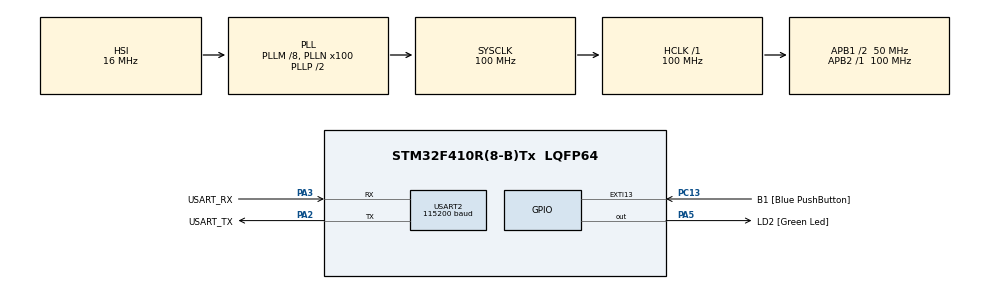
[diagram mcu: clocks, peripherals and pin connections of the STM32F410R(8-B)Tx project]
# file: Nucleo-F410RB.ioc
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FREERTOS.BinarySemaphores01=watchdogMutex,Dynamic,NULL
FREERTOS.Tasks01=defaultTask,0,128,StartDefaultTask,Default,NULL,Dynamic,NULL,NULL;Blink,-2,128,StartBlinkLED2,Default,NULL,Dynamic,NULL,NULL;watchdogFeeder,2,128,StartWatchdogFeeder,Default,NULL,Dynamic,NULL,NULL;watchdog,2,128,StartWatchdog,Default,NULL,Dynamic,NULL,NULL
FREERTOS.configUSE_NEWLIB_REENTRANT=1
Mcu.Family=STM32F4
Mcu.Name=STM32F410R(8-B)Tx
Mcu.Package=LQFP64
NVIC.PriorityGroup=NVIC_PRIORITYGROUP_4
NVIC.TIM6_DAC_IRQn=true\:15\:0\:false\:false\:true\:false\:false\:true\:true
NVIC.TimeBase=TIM6_DAC_IRQn
NVIC.TimeBaseIP=TIM6
PA13.GPIO_Label=TMS
PA13.Mode=Serial_Wire
PA13.Signal=SYS_JTMS-SWDIO
PA14.GPIO_Label=TCK
PA14.Mode=Serial_Wire
PA14.Signal=SYS_JTCK-SWCLK
PA2.GPIO_Label=USART_TX
PA2.Mode=Asynchronous
PA2.Signal=USART2_TX
PA3.GPIO_Label=USART_RX
PA3.Mode=Asynchronous
PA3.Signal=USART2_RX
PA5.GPIO_Label=LD2 [Green Led]
PA5.Signal=GPIO_Output
PB3.GPIO_Label=SWO
PB3.Signal=SYS_JTDO-SWO
PC13-ANTI_TAMP.GPIO_Label=B1 [Blue PushButton]
PC13-ANTI_TAMP.GPIO_ModeDefaultEXTI=GPIO_MODE_IT_FALLING
PC13-ANTI_TAMP.Signal=GPXTI13
PC14-OSC32_IN.Mode=LSE-External-Oscillator
PC14-OSC32_IN.Signal=RCC_OSC32_IN
PC15-OSC32_OUT.Mode=LSE-External-Oscillator
PC15-OSC32_OUT.Signal=RCC_OSC32_OUT
PH0\ -\ OSC_IN.Mode=HSE-External-Clock-Source
PH0\ -\ OSC_IN.Signal=RCC_OSC_IN
PH1\ -\ OSC_OUT.Mode=HSE-External-Clock-Source
PH1\ -\ OSC_OUT.Signal=RCC_OSC_OUT
ProjectManager.HeapSize=0x200
ProjectManager.StackSize=0x400
ProjectManager.TargetToolchain=STM32CubeIDE
RCC.48MHZClocksFreq_Value=50000000
RCC.AHBFreq_Value=100000000
RCC.APB1CLKDivider=RCC_HCLK_DIV2
RCC.APB1Freq_Value=50000000
RCC.APB1TimFreq_Value=100000000
RCC.APB2Freq_Value=100000000
RCC.APB2TimFreq_Value=100000000
RCC.CortexFreq_Value=100000000
RCC.FLatency-AdvancedSettings=FLASH_LATENCY_3
RCC.HCLKFreq_Value=100000000
RCC.HSE_VALUE=8000000
RCC.HSI_VALUE=16000000
RCC.PLLM=8
RCC.PLLN=100
RCC.SYSCLKFreq_VALUE=100000000
RCC.SYSCLKSource=RCC_SYSCLKSOURCE_PLLCLK
RCC.VCOOutputFreq_Value=200000000
USART2.BaudRate=115200
USART2.VirtualMode=VM_ASYNC
VP_FREERTOS_VS_CMSIS_V1.Mode=CMSIS_V1
VP_SYS_VS_tim6.Mode=TIM6
board=NUCLEO-F410RB

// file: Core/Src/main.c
/* USER CODE BEGIN Header */
/**
  ******************************************************************************
  * @file           : main.c
  * @brief          : Main program body
  ******************************************************************************
  * @attention
  *
  * Copyright (c) 2023 STMicroelectronics.
  * All rights reserved.
  *
  * This software is licensed under terms that can be found in the LICENSE file
  * in the root directory of this software component.
  * If no LICENSE file comes with this software, it is provided AS-IS.
  *
  ******************************************************************************
  */
/* USER CODE END Header */
#include "main.h"
#include "cmsis_os.h"

/* USER CODE BEGIN Includes */
#include "string.h"
#include "stdio.h"
/* USER CODE END Includes */

/* USER CODE BEGIN PD */
#define WAIT_WATCHDOG_TICKS 100
/* USER CODE END PD */

UART_HandleTypeDef huart2;

osThreadId defaultTaskHandle;
osThreadId BlinkHandle;
osThreadId watchdogFeederHandle;
osThreadId watchdogHandle;
osSemaphoreId watchdogMutexHandle;
/* USER CODE BEGIN PV */
int file = WAIT_WATCHDOG_TICKS;
/* USER CODE END PV */

void SystemClock_Config(void);
static void MX_GPIO_Init(void);
static void MX_USART2_UART_Init(void);
void StartDefaultTask(void const * argument);
void StartBlinkLED2(void const * argument);
void StartWatchdogFeeder(void const * argument);
void StartWatchdog(void const * argument);

int main(void)
{

  /* MCU Configuration--------------------------------------------------------*/

  /* Reset of all peripherals, Initializes the Flash interface and the Systick. */
  HAL_Init();

  /* Configure the system clock */
  SystemClock_Config();

  /* Initialize all configured peripherals */
  MX_GPIO_Init();
  MX_USART2_UART_Init();
  /* USER CODE BEGIN 2 */
  // welcome the user with some text

  char * welcome = "\033[2J\033[HHi I'm Rocky. I use FreeRTOS to do three tasks\r\n - Blink a green LED\r\n - Send Data to earth\r\n - Rearm a watchdog\r\n\r\nPlease press the blue button to continue";
  HAL_UART_Transmit(&huart2,(uint8_t *) welcome, strlen(welcome), 1000);

  // wait for the user to press the blue button
  for(;;){
      if (HAL_GPIO_ReadPin(B1_GPIO_Port, B1_Pin)==GPIO_PIN_RESET)
	{
	  char * pressed = "... pressed \r\n";
	  HAL_UART_Transmit(&huart2, (uint8_t *) pressed, strlen(pressed), 1000);
	  break;
	}
  }

  /* USER CODE END 2 */

  /* Create the semaphores(s) */
  /* definition and creation of watchdogMutex */
  osSemaphoreDef(watchdogMutex);
  watchdogMutexHandle = osSemaphoreCreate(osSemaphore(watchdogMutex), 1);

  /* Create the thread(s) */
  /* definition and creation of defaultTask */
  osThreadDef(defaultTask, StartDefaultTask, osPriorityRealtime, 0, 128);
  defaultTaskHandle = osThreadCreate(osThread(defaultTask), NULL);

  /* definition and creation of Blink */
  osThreadDef(Blink, StartBlinkLED2, osPriorityRealtime, 0, 128);
  BlinkHandle = osThreadCreate(osThread(Blink), NULL);

  /* definition and creation of watchdogFeeder */
  osThreadDef(watchdogFeeder, StartWatchdogFeeder, osPriorityRealtime, 0, 128);
  watchdogFeederHandle = osThreadCreate(osThread(watchdogFeeder), NULL);

  /* definition and creation of watchdog */
  osThreadDef(watchdog, StartWatchdog, osPriorityRealtime, 0, 128);
  watchdogHandle = osThreadCreate(osThread(watchdog), NULL);

  /* Start scheduler */
  osKernelStart();
  /* We should never get here as control is now taken by the scheduler */
  /* Infinite loop */
  /* USER CODE BEGIN WHILE */
  NVIC_SystemReset();
  while (1)
  {
    /* USER CODE END WHILE */

  }
}

void SystemClock_Config(void)
{
  RCC_OscInitTypeDef RCC_OscInitStruct = {0};
  RCC_ClkInitTypeDef RCC_ClkInitStruct = {0};

  /** Configure the main internal regulator output voltage
  */
  __HAL_RCC_PWR_CLK_ENABLE();
  __HAL_PWR_VOLTAGESCALING_CONFIG(PWR_REGULATOR_VOLTAGE_SCALE1);

  /** Initializes the RCC Oscillators according to the specified parameters
  * in the RCC_OscInitTypeDef structure.
  */
  RCC_OscInitStruct.OscillatorType = RCC_OSCILLATORTYPE_HSI;
  RCC_OscInitStruct.HSIState = RCC_HSI_ON;
  RCC_OscInitStruct.HSICalibrationValue = RCC_HSICALIBRATION_DEFAULT;
  RCC_OscInitStruct.PLL.PLLState = RCC_PLL_ON;
  RCC_OscInitStruct.PLL.PLLSource = RCC_PLLSOURCE_HSI;
  RCC_OscInitStruct.PLL.PLLM = 8;
  RCC_OscInitStruct.PLL.PLLN = 100;
  RCC_OscInitStruct.PLL.PLLP = RCC_PLLP_DIV2;
  RCC_OscInitStruct.PLL.PLLQ = 4;
  RCC_OscInitStruct.PLL.PLLR = 2;
  if (HAL_RCC_OscConfig(&RCC_OscInitStruct) != HAL_OK)
  {
    Error_Handler();
  }

  /** Initializes the CPU, AHB and APB buses clocks
  */
  RCC_ClkInitStruct.ClockType = RCC_CLOCKTYPE_HCLK|RCC_CLOCKTYPE_SYSCLK
                              |RCC_CLOCKTYPE_PCLK1|RCC_CLOCKTYPE_PCLK2;
  RCC_ClkInitStruct.SYSCLKSource = RCC_SYSCLKSOURCE_PLLCLK;
  RCC_ClkInitStruct.AHBCLKDivider = RCC_SYSCLK_DIV1;
  RCC_ClkInitStruct.APB1CLKDivider = RCC_HCLK_DIV2;
  RCC_ClkInitStruct.APB2CLKDivider = RCC_HCLK_DIV1;

  if (HAL_RCC_ClockConfig(&RCC_ClkInitStruct, FLASH_LATENCY_3) != HAL_OK)
  {
    Error_Handler();
  }
}

static void MX_USART2_UART_Init(void)
{

  huart2.Instance = USART2;
  huart2.Init.BaudRate = 115200;
  huart2.Init.WordLength = UART_WORDLENGTH_8B;
  huart2.Init.StopBits = UART_STOPBITS_1;
  huart2.Init.Parity = UART_PARITY_NONE;
  huart2.Init.Mode = UART_MODE_TX_RX;
  huart2.Init.HwFlowCtl = UART_HWCONTROL_NONE;
  huart2.Init.OverSampling = UART_OVERSAMPLING_16;
  if (HAL_UART_Init(&huart2) != HAL_OK)
  {
    Error_Handler();
  }

}

static void MX_GPIO_Init(void)
{
  GPIO_InitTypeDef GPIO_InitStruct = {0};

  /* GPIO Ports Clock Enable */
  __HAL_RCC_GPIOC_CLK_ENABLE();
  __HAL_RCC_GPIOH_CLK_ENABLE();
  __HAL_RCC_GPIOA_CLK_ENABLE();
  __HAL_RCC_GPIOB_CLK_ENABLE();

  /*Configure GPIO pin Output Level */
  HAL_GPIO_WritePin(LD2_GPIO_Port, LD2_Pin, GPIO_PIN_RESET);

  /*Configure GPIO pin : B1_Pin */
  GPIO_InitStruct.Pin = B1_Pin;
  GPIO_InitStruct.Mode = GPIO_MODE_IT_FALLING;
  GPIO_InitStruct.Pull = GPIO_NOPULL;
  HAL_GPIO_Init(B1_GPIO_Port, &GPIO_InitStruct);

  /*Configure GPIO pin : LD2_Pin */
  GPIO_InitStruct.Pin = LD2_Pin;
  GPIO_InitStruct.Mode = GPIO_MODE_OUTPUT_PP;
  GPIO_InitStruct.Pull = GPIO_NOPULL;
  GPIO_InitStruct.Speed = GPIO_SPEED_FREQ_LOW;
  HAL_GPIO_Init(LD2_GPIO_Port, &GPIO_InitStruct);

}

void StartDefaultTask(void const * argument)
{
  /* USER CODE BEGIN 5 */
  /* Infinite loop */
  for(;;)
  {
    char *def = "\033[KSending Data to Earth";
    HAL_UART_Transmit(&huart2, (uint8_t *) def, strlen(def), 1000);
    for(int i = 0; i < 100; i++)
      {
	  osSemaphoreWait(watchdogMutexHandle, osWaitForever);
	  // Task like sending data
	  HAL_UART_Transmit(&huart2, (uint8_t *) ".", 1, 1000);
	  osDelay(10);

	  osSemaphoreRelease(watchdogMutexHandle);
      }
    HAL_UART_Transmit(&huart2, (uint8_t *) "\r", 2, 1000);
    osDelay(1);
  }
  /* USER CODE END 5 */
}

void StartBlinkLED2(void const * argument)
{
  /* USER CODE BEGIN StartBlinkLED2 */
  /* Infinite loop */
  for(;;)
  {
    HAL_GPIO_TogglePin(LD2_GPIO_Port, LD2_Pin);
    osDelay(250);
  }
  /* USER CODE END StartBlinkLED2 */
}

void StartWatchdogFeeder(void const * argument)
{
  /* USER CODE BEGIN StartWatchdogFeeder */
  /* Infinite loop */
  for(;;)
  {
    if (--file < 5)
      {
	char * here = "\r\nWatchdog rearmed\r\n";
	HAL_UART_Transmit(&huart2, (uint8_t *) here, strlen(here), 1000);
	// wait for semaphore
	osSemaphoreWait(watchdogMutexHandle, osWaitForever);

	// reset file
	file = WAIT_WATCHDOG_TICKS;

	//release semaphore
	osSemaphoreRelease(watchdogMutexHandle);
      }
    osDelay(100);
  }
  /* USER CODE END StartWatchdogFeeder */
}

void StartWatchdog(void const * argument)
{
  /* USER CODE BEGIN StartWatchdog */
  for(;;)
    {
      if (file < 3)
	{
	  char * reboot = "\033[2J\033[HReboot";
	  HAL_UART_Transmit(&huart2, (uint8_t *) reboot, strlen(reboot), 1000);
	  osDelay(500);
	  NVIC_SystemReset();
	}
    }
  osDelay(100);
  /* USER CODE END StartWatchdog */
}

void HAL_TIM_PeriodElapsedCallback(TIM_HandleTypeDef *htim)
{
  if (htim->Instance == TIM6) {
    HAL_IncTick();
  }
}

void Error_Handler(void)
{
  __disable_irq();
  while (1)
  {
  }
}
